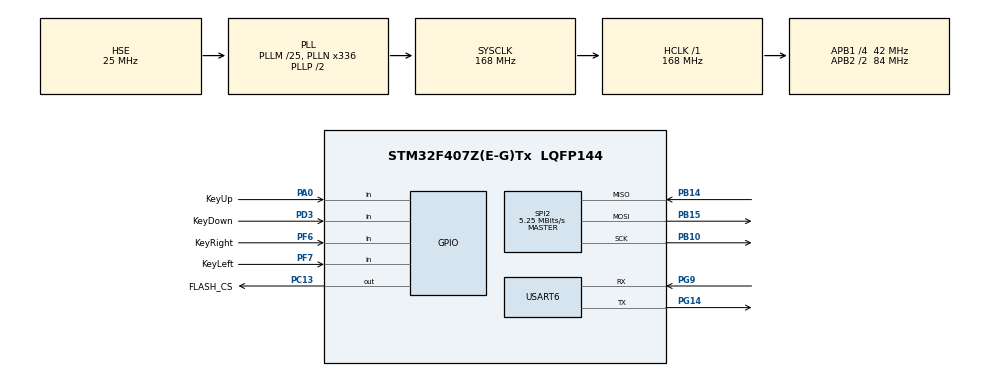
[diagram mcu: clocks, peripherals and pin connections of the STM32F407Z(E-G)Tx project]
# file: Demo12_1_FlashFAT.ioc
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FATFS._CODE_PAGE=936
FATFS._MAX_SS=4096
FATFS._MIN_SS=512
Mcu.Family=STM32F4
Mcu.Name=STM32F407Z(E-G)Tx
Mcu.Package=LQFP144
NVIC.PriorityGroup=NVIC_PRIORITYGROUP_4
PA0-WKUP.GPIO_Label=KeyUp
PA0-WKUP.GPIO_PuPd=GPIO_PULLUP
PA0-WKUP.Signal=GPIO_Input
PA13.Mode=Serial_Wire
PA13.Signal=SYS_JTMS-SWDIO
PA14.Mode=Serial_Wire
PA14.Signal=SYS_JTCK-SWCLK
PB10.Mode=Full_Duplex_Master
PB10.Signal=SPI2_SCK
PB14.Mode=Full_Duplex_Master
PB14.Signal=SPI2_MISO
PB15.Mode=Full_Duplex_Master
PB15.Signal=SPI2_MOSI
PC13-ANTI_TAMP.GPIO_Label=FLASH_CS
PC13-ANTI_TAMP.GPIO_PuPd=GPIO_NOPULL
PC13-ANTI_TAMP.PinState=GPIO_PIN_RESET
PC13-ANTI_TAMP.Signal=GPIO_Output
PC14-OSC32_IN.Mode=LSE-External-Oscillator
PC14-OSC32_IN.Signal=RCC_OSC32_IN
PC15-OSC32_OUT.Mode=LSE-External-Oscillator
PC15-OSC32_OUT.Signal=RCC_OSC32_OUT
PD3.GPIO_Label=KeyDown
PD3.GPIO_PuPd=GPIO_PULLUP
PD3.Signal=GPIO_Input
PF6.GPIO_Label=KeyRight
PF6.GPIO_PuPd=GPIO_PULLUP
PF6.Signal=GPIO_Input
PF7.GPIO_Label=KeyLeft
PF7.GPIO_PuPd=GPIO_PULLUP
PF7.Signal=GPIO_Input
PG14.Mode=Asynchronous
PG14.Signal=USART6_TX
PG9.Mode=Asynchronous
PG9.Signal=USART6_RX
PH0-OSC_IN.Mode=HSE-External-Oscillator
PH0-OSC_IN.Signal=RCC_OSC_IN
PH1-OSC_OUT.Mode=HSE-External-Oscillator
PH1-OSC_OUT.Signal=RCC_OSC_OUT
ProjectManager.HeapSize=0x200
ProjectManager.StackSize=0x400
ProjectManager.TargetToolchain=STM32CubeIDE
RCC.48MHZClocksFreq_Value=84000000
RCC.AHBFreq_Value=168000000
RCC.APB1CLKDivider=RCC_HCLK_DIV4
RCC.APB1Freq_Value=42000000
RCC.APB1TimFreq_Value=84000000
RCC.APB2CLKDivider=RCC_HCLK_DIV2
RCC.APB2Freq_Value=84000000
RCC.APB2TimFreq_Value=168000000
RCC.CortexFreq_Value=168000000
RCC.HCLKFreq_Value=168000000
RCC.HSE_VALUE=25000000
RCC.HSI_VALUE=16000000
RCC.PLLM=25
RCC.PLLN=336
RCC.PLLSourceVirtual=RCC_PLLSOURCE_HSE
RCC.RCC_RTC_Clock_Source=RCC_RTCCLKSOURCE_LSE
RCC.RCC_RTC_Clock_SourceVirtual=RCC_RTCCLKSOURCE_LSE
RCC.SYSCLKFreq_VALUE=168000000
RCC.SYSCLKSource=RCC_SYSCLKSOURCE_PLLCLK
RCC.VCOOutputFreq_Value=336000000
RTC.Date=23
RTC.Format=RTC_FORMAT_BIN
RTC.Hours=9
RTC.Minutes=17
RTC.Month=RTC_MONTH_JUNE
RTC.Seconds=10
RTC.WakeUpClock=RTC_WAKEUPCLOCK_CK_SPRE_16BITS
RTC.WeekDay=RTC_WEEKDAY_MONDAY
RTC.Year=25
SPI2.BaudRatePrescaler=SPI_BAUDRATEPRESCALER_8
SPI2.CLKPhase=SPI_PHASE_2EDGE
SPI2.CLKPolarity=SPI_POLARITY_HIGH
SPI2.CalculateBaudRate=5.25 MBits/s
SPI2.Direction=SPI_DIRECTION_2LINES
SPI2.Mode=SPI_MODE_MASTER
SPI2.VirtualType=VM_MASTER
USART6.VirtualMode=VM_ASYNC
VP_FATFS_VS_Generic.Mode=User_defined
VP_RTC_VS_RTC_Activate.Mode=RTC_Enabled
VP_RTC_VS_RTC_Calendar.Mode=RTC_Calendar
VP_RTC_VS_RTC_WakeUp_intern.Mode=WakeUp
board=custom

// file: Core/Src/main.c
/* USER CODE BEGIN Header */
/**
  ******************************************************************************
  * @file           : main.c
  * @brief          : Main program body
  ******************************************************************************
  * @attention
  *
  * Copyright (c) 2025 STMicroelectronics.
  * All rights reserved.
  *
  * This software is licensed under terms that can be found in the LICENSE file
  * in the root directory of this software component.
  * If no LICENSE file comes with this software, it is provided AS-IS.
  *
  ******************************************************************************
  */
/* USER CODE END Header */
#include "main.h"
#include "fatfs.h"
#include "rtc.h"
#include "spi.h"
#include "usart.h"
#include "gpio.h"

/* USER CODE BEGIN Includes */
#include "ff.h"
#include "keyled.h"
#include "w25flash.h"
#include "file_opera.h"
#include <stdio.h>
/* USER CODE END Includes */

void SystemClock_Config(void);

int main(void)
{

  /* MCU Configuration--------------------------------------------------------*/

  /* Reset of all peripherals, Initializes the Flash interface and the Systick. */
  HAL_Init();

  /* Configure the system clock */
  SystemClock_Config();

  /* Initialize all configured peripherals */
  MX_GPIO_Init();
  MX_FATFS_Init();
  MX_RTC_Init();
  MX_SPI2_Init();
  MX_USART6_UART_Init();
  /* USER CODE BEGIN 2 */
  // Start Menu
  uint8_t startstr[] = "Demo12_1: FatFS on SPI-Flash chip.\r\n";
  HAL_UART_Transmit(&huart6,startstr,sizeof(startstr),0xFFFF);

  HAL_GPIO_WritePin(FLASH_CS_GPIO_Port, FLASH_CS_Pin, GPIO_PIN_RESET);	//FLASH_CS

  FRESULT res=f_mount(NULL,"0:",1);
  res=f_mount(&USERFatFS, "0:", 1);	//Mount the drive
  printf("f_mount() return value= %d\r\n",res);

  // If the mount is not successful, uninstall it first and then mount it.
  if(res != FR_OK)
  {
	  BYTE workBuffer[4096];
	  res=f_mkfs("0:",FM_FAT,4096,workBuffer,4096);
  }
  else
  {
	  res=f_mount(NULL,"0:",1);							//uninstall it first
	  res=f_mount(&USERFatFS,"0:",1);				//and then mount it
  }

  if (res==FR_OK)												//Mounted successfully
	  printf("FatFS is mounted, OK.\r\n");
  else
	  printf("No file system.\r\n");

  //The menu item start line is used to clear the area when drawing the second group of menus.
  //Group 1 Menu
  printf("[1][S2]KeyUp	= Format chip.\r\n");
  printf("[2][S4]KeyLeft	= FAT disk info.\r\n");
  printf("[3][S5]KeyRight	= List all entries.\r\n");
  printf("[4][S3]KeyDown	= Next menu page.\r\n");

  KEYS waitKey;	//Key input
  while(1)
  {
	  waitKey=ScanPressedKey(KEY_WAIT_ALWAYS);  		//Waiting for the button

	  //Format Flash chips and create file system
	  if  (waitKey == KEY_UP)
	  {
		  /* The cluster size should not be less than 1 sector size.
		   * The smaller the cluster, the smaller the file space, the slower the speed,
		   * and vice versa. */
		  BYTE	workBuffer[FLASH_SECTOR_SIZE];   			//FLASH_SECTOR_SIZE=4096B, 4KB
		  DWORD clusterSize=1*FLASH_SECTOR_SIZE;		//The cluster size should be >= 1 sector

		  printf("Formatting the chip...\r\n");
		  FRESULT res=f_mkfs("0:", FM_ANY, clusterSize,  workBuffer, FLASH_SECTOR_SIZE);

		  //Create a file system. The cluster size must be greater than or equal to 1 sector.
		  //The workBuffer size should be an integer multiple of the sector size.
		  if (res ==FR_OK)
			  printf("Format OK.\r\n");
		  else
			  printf("Format fail.\r\n");
	  }
	  else if(waitKey == KEY_LEFT)
	  {
		  fatTest_GetDiskInfo();		//Get and display disk information
	  }

	  else if (waitKey == KEY_RIGHT)
	  {
		  fatTest_ScanDir("0:/");		//Scan the files and directories in the root directory
	  }
	  else if (waitKey == KEY_DOWN)
	  {
		  break;							//Jump to the next level menu
	  }
	  printf("Reselect menu item or reset.\r\n");
	  HAL_Delay(500);  				//Delay 500 to eliminate the impact of key jitter
  }

  //Group 2 Menu
  printf("[5][S2]KeyUp	= Write files.\r\n");
  printf("[6][S4]KeyLeft	= Read a TXT file.\r\n");
  printf("[7][S5]KeyRight	= Read a BIN file.\r\n");
  printf("[8][S3]KeyDown	= Get a file info.\r\n");

  HAL_Delay(500);  					//Delay 500 to eliminate the impact of key jitter

  while(2)
  {
	  //Waiting for the button
	  waitKey=ScanPressedKey(KEY_WAIT_ALWAYS);

	  if (waitKey==KEY_UP )    	//Write a file test
	  {
		  fatTest_WriteTXTFile("readme.txt",2025,6,23);
		  fatTest_WriteTXTFile("help.txt",2025,6,20);
		  fatTest_WriteBinFile("ADC500.dat",20,500);
		  fatTest_WriteBinFile("ADC1000.dat",50,1000);

		  f_mkdir("0:/SubDir1");		//Create a directory
		  f_mkdir("0:/MyDocs");		//Create a directory
	  }
	  else if (waitKey==KEY_LEFT )
		  fatTest_ReadTXTFile("readme.txt");		//Test reading text files
	  else if (waitKey==KEY_RIGHT)
		  fatTest_ReadBinFile("ADC500.dat");		//Test reading binary files
	  else if (waitKey==KEY_DOWN)
		  fatTest_GetFileInfo("ADC1000.dat");	//Test to obtain file information

	  printf("Reselect menu item or reset.\r\n");
	  HAL_Delay(500);					//Delay, eliminate the impact of key jitter
  }
  /* USER CODE END 2 */

  /* Infinite loop */
  while (1)
  {

  }
}

void SystemClock_Config(void)
{
	RCC_OscInitTypeDef RCC_OscInitStruct = {0};
	RCC_ClkInitTypeDef RCC_ClkInitStruct = {0};

	/** Configure the main internal regulator output voltage
	*/
	__HAL_RCC_PWR_CLK_ENABLE();
	__HAL_PWR_VOLTAGESCALING_CONFIG(PWR_REGULATOR_VOLTAGE_SCALE1);

	/** Initializes the RCC Oscillators according to the specified parameters
	* in the RCC_OscInitTypeDef structure.
	*/
	RCC_OscInitStruct.OscillatorType = RCC_OSCILLATORTYPE_HSE|RCC_OSCILLATORTYPE_LSE;
	RCC_OscInitStruct.HSEState = RCC_HSE_ON;
	RCC_OscInitStruct.LSEState = RCC_LSE_ON;
	RCC_OscInitStruct.PLL.PLLState = RCC_PLL_ON;
	RCC_OscInitStruct.PLL.PLLSource = RCC_PLLSOURCE_HSE;
	RCC_OscInitStruct.PLL.PLLM = 25;
	RCC_OscInitStruct.PLL.PLLN = 336;
	RCC_OscInitStruct.PLL.PLLP = RCC_PLLP_DIV2;
	RCC_OscInitStruct.PLL.PLLQ = 4;
	if (HAL_RCC_OscConfig(&RCC_OscInitStruct) != HAL_OK)
	{
		Error_Handler();
	}

  /** Initializes the CPU, AHB and APB buses clocks
  */
  RCC_ClkInitStruct.ClockType = RCC_CLOCKTYPE_HCLK|RCC_CLOCKTYPE_SYSCLK
                              |RCC_CLOCKTYPE_PCLK1|RCC_CLOCKTYPE_PCLK2;
  RCC_ClkInitStruct.SYSCLKSource = RCC_SYSCLKSOURCE_PLLCLK;
  RCC_ClkInitStruct.AHBCLKDivider = RCC_SYSCLK_DIV1;
  RCC_ClkInitStruct.APB1CLKDivider = RCC_HCLK_DIV4;
  RCC_ClkInitStruct.APB2CLKDivider = RCC_HCLK_DIV2;

  if (HAL_RCC_ClockConfig(&RCC_ClkInitStruct, FLASH_LATENCY_5) != HAL_OK)
  {
	  Error_Handler();
  }
}

/* USER CODE BEGIN 4 */
int __io_putchar(int ch)
{
	HAL_UART_Transmit(&huart6,(uint8_t*)&ch,1,0xFFFF);
	return ch;
}
/* USER CODE END 4 */

void Error_Handler(void)
{
	__disable_irq();
	while (1)
	{
	}
}
